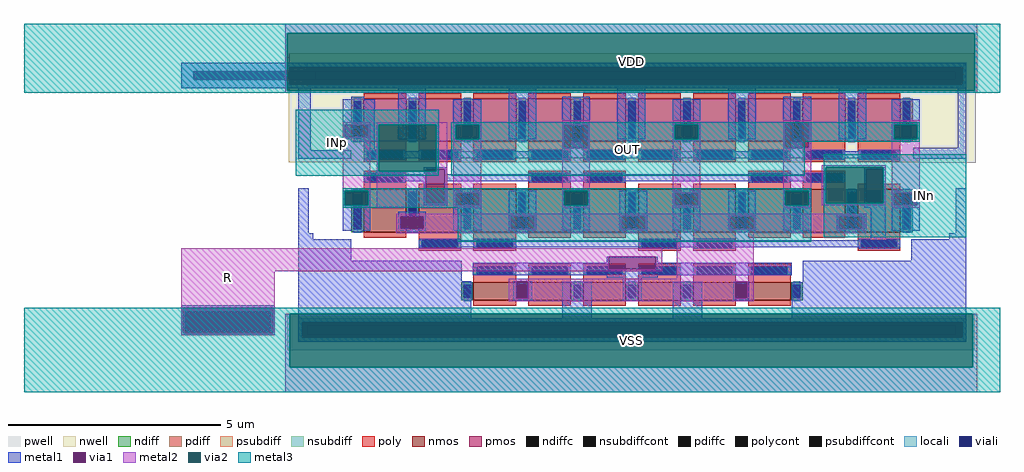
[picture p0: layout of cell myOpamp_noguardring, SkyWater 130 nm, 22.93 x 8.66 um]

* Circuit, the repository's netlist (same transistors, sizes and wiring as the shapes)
* NGSPICE file created from myOpamp_noguardring.ext - technology: sky130A

.subckt sky130_fd_pr__nfet_01v8_7W2YM9 a_n229_n99# a_n545_n73# a_487_n73# a_n29_n73#
+ a_n487_n99# a_n287_n73# a_545_n99# a_29_n99# a_n803_n73# a_287_n99# a_745_n73# a_229_n73#
+ a_n745_n99# VSUBS
X0 a_n545_n73# a_n745_n99# a_n803_n73# VSUBS sky130_fd_pr__nfet_01v8 ad=0.0609 pd=0.71 as=0.1218 ps=1.42 w=0.42 l=1
X1 a_n287_n73# a_n487_n99# a_n545_n73# VSUBS sky130_fd_pr__nfet_01v8 ad=0.0609 pd=0.71 as=0.0609 ps=0.71 w=0.42 l=1
X2 a_n29_n73# a_n229_n99# a_n287_n73# VSUBS sky130_fd_pr__nfet_01v8 ad=0.0609 pd=0.71 as=0.0609 ps=0.71 w=0.42 l=1
X3 a_745_n73# a_545_n99# a_487_n73# VSUBS sky130_fd_pr__nfet_01v8 ad=0.1218 pd=1.42 as=0.0609 ps=0.71 w=0.42 l=1
X4 a_229_n73# a_29_n99# a_n29_n73# VSUBS sky130_fd_pr__nfet_01v8 ad=0.0609 pd=0.71 as=0.0609 ps=0.71 w=0.42 l=1
X5 a_487_n73# a_287_n99# a_229_n73# VSUBS sky130_fd_pr__nfet_01v8 ad=0.0609 pd=0.71 as=0.0609 ps=0.71 w=0.42 l=1
.ends

.subckt sky130_fd_pr__pfet_01v8_PE7Z8M a_1003_n64# a_1061_n161# a_n803_n64# a_n1319_n64#
+ a_1261_n64# a_n487_n161# a_n1261_n161# a_545_n161# a_745_n64# a_229_n64# w_n1355_n164#
+ a_n1061_n64# a_n545_n64# a_29_n161# a_487_n64# a_n745_n161# a_n29_n64# a_803_n161#
+ a_n287_n64# a_n229_n161# a_287_n161# a_n1003_n161#
X0 a_n803_n64# a_n1003_n161# a_n1061_n64# w_n1355_n164# sky130_fd_pr__pfet_01v8 ad=0.145 pd=1.29 as=0.145 ps=1.29 w=1 l=1
X1 a_n29_n64# a_n229_n161# a_n287_n64# w_n1355_n164# sky130_fd_pr__pfet_01v8 ad=0.145 pd=1.29 as=0.145 ps=1.29 w=1 l=1
X2 a_745_n64# a_545_n161# a_487_n64# w_n1355_n164# sky130_fd_pr__pfet_01v8 ad=0.145 pd=1.29 as=0.145 ps=1.29 w=1 l=1
X3 a_229_n64# a_29_n161# a_n29_n64# w_n1355_n164# sky130_fd_pr__pfet_01v8 ad=0.145 pd=1.29 as=0.145 ps=1.29 w=1 l=1
X4 a_487_n64# a_287_n161# a_229_n64# w_n1355_n164# sky130_fd_pr__pfet_01v8 ad=0.145 pd=1.29 as=0.145 ps=1.29 w=1 l=1
X5 a_n545_n64# a_n745_n161# a_n803_n64# w_n1355_n164# sky130_fd_pr__pfet_01v8 ad=0.145 pd=1.29 as=0.145 ps=1.29 w=1 l=1
X6 a_1261_n64# a_1061_n161# a_1003_n64# w_n1355_n164# sky130_fd_pr__pfet_01v8 ad=0.29 pd=2.58 as=0.145 ps=1.29 w=1 l=1
X7 a_n1061_n64# a_n1261_n161# a_n1319_n64# w_n1355_n164# sky130_fd_pr__pfet_01v8 ad=0.145 pd=1.29 as=0.29 ps=2.58 w=1 l=1
X8 a_n287_n64# a_n487_n161# a_n545_n64# w_n1355_n164# sky130_fd_pr__pfet_01v8 ad=0.145 pd=1.29 as=0.145 ps=1.29 w=1 l=1
X9 a_1003_n64# a_803_n161# a_745_n64# w_n1355_n164# sky130_fd_pr__pfet_01v8 ad=0.145 pd=1.29 as=0.145 ps=1.29 w=1 l=1
.ends

.subckt sky130_fd_pr__nfet_01v8_7AMGGK a_n100_n157# a_n158_n69# a_100_n69# VSUBS
X0 a_100_n69# a_n100_n157# a_n158_n69# VSUBS sky130_fd_pr__nfet_01v8 ad=0.29 pd=2.58 as=0.29 ps=2.58 w=1 l=1
.ends

.subckt sky130_fd_pr__nfet_01v8_QFRGQ5 a_100_n131# a_n100_n157# a_n158_n131# VSUBS
X0 a_100_n131# a_n100_n157# a_n158_n131# VSUBS sky130_fd_pr__nfet_01v8 ad=0.29 pd=2.58 as=0.29 ps=2.58 w=1 l=1
.ends

.subckt opamp_nores OUT VSS VDD INp INn R
Xsky130_fd_pr__nfet_01v8_7W2YM9_0 R m1_540_190# m1_540_190# R R VSS R R VSS R VSS
+ VSS R VSS sky130_fd_pr__nfet_01v8_7W2YM9
Xsky130_fd_pr__pfet_01v8_PE7Z8M_0 VDD m1_280_190# OUT m1_280_190# OUT m1_280_190#
+ m1_280_190# m1_280_190# m1_280_190# OUT VDD VDD VDD m1_280_190# VDD m1_280_190#
+ VDD m1_280_190# m1_280_190# m1_280_190# m1_280_190# m1_280_190# sky130_fd_pr__pfet_01v8_PE7Z8M
Xsky130_fd_pr__nfet_01v8_7AMGGK_0 INn m1_540_190# OUT VSS sky130_fd_pr__nfet_01v8_7AMGGK
Xsky130_fd_pr__nfet_01v8_7AMGGK_1 INn OUT m1_540_190# VSS sky130_fd_pr__nfet_01v8_7AMGGK
Xsky130_fd_pr__nfet_01v8_7AMGGK_3 INn m1_540_190# OUT VSS sky130_fd_pr__nfet_01v8_7AMGGK
Xsky130_fd_pr__nfet_01v8_7AMGGK_4 INn m1_540_190# OUT VSS sky130_fd_pr__nfet_01v8_7AMGGK
Xsky130_fd_pr__nfet_01v8_7AMGGK_5 INn OUT m1_540_190# VSS sky130_fd_pr__nfet_01v8_7AMGGK
Xsky130_fd_pr__nfet_01v8_QFRGQ5_0 m1_540_190# INp m1_280_190# VSS sky130_fd_pr__nfet_01v8_QFRGQ5
Xsky130_fd_pr__nfet_01v8_QFRGQ5_1 m1_280_190# INp m1_540_190# VSS sky130_fd_pr__nfet_01v8_QFRGQ5
Xsky130_fd_pr__nfet_01v8_QFRGQ5_2 m1_540_190# INp m1_280_190# VSS sky130_fd_pr__nfet_01v8_QFRGQ5
Xsky130_fd_pr__nfet_01v8_QFRGQ5_3 m1_280_190# INp m1_540_190# VSS sky130_fd_pr__nfet_01v8_QFRGQ5
Xsky130_fd_pr__nfet_01v8_QFRGQ5_5 m1_540_190# INp m1_280_190# VSS sky130_fd_pr__nfet_01v8_QFRGQ5
.ends

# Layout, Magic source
magic
tech sky130A
magscale 1 2
<< nwell >>
rect 26 880 3252 1024
rect 26 849 3253 880
rect 25 835 3253 849
rect 25 512 312 835
rect 2985 511 3253 835
<< pwell >>
rect 20 -370 3250 -200
<< psubdiff >>
rect 70 -250 3200 -220
rect 70 -300 110 -250
rect 3160 -300 3200 -250
rect 70 -329 3200 -300
rect 70 -330 430 -329
rect 2840 -330 3200 -329
<< nsubdiff >>
rect 110 940 3200 980
rect 110 900 150 940
rect 3160 900 3200 940
rect 110 870 3200 900
<< psubdiffcont >>
rect 110 -300 3160 -250
<< nsubdiffcont >>
rect 150 900 3160 940
<< locali >>
rect -480 940 3210 980
rect -480 900 -420 940
rect 3160 900 3210 940
rect -480 860 3210 900
rect -480 -190 -40 -160
rect -480 -280 -460 -190
rect -60 -280 -40 -190
rect -480 -300 -40 -280
rect 70 -250 3210 -220
rect 70 -300 110 -250
rect 3160 -300 3210 -250
rect 70 -330 3210 -300
<< viali >>
rect -420 900 150 940
rect 150 900 3160 940
rect -460 -280 -60 -190
rect 110 -300 3160 -250
<< metal1 >>
rect -480 960 3210 980
rect -480 940 30 960
rect -480 900 -420 940
rect -480 880 30 900
rect 3190 880 3210 960
rect -480 860 3210 880
rect 70 570 130 860
rect 320 810 380 820
rect 280 690 430 810
rect 280 630 290 690
rect 400 630 430 690
rect 280 620 430 630
rect 540 620 670 860
rect 800 690 930 810
rect 800 630 810 690
rect 920 630 930 690
rect 800 620 930 630
rect 1060 620 1190 860
rect 1310 690 1440 820
rect 320 610 430 620
rect 70 530 320 570
rect 380 565 430 610
rect 1310 580 1320 690
rect 1430 580 1440 690
rect 1570 620 1700 860
rect 1830 700 1960 810
rect 1830 630 1840 700
rect 1950 630 1960 700
rect 1830 620 1960 630
rect 2090 620 2220 860
rect 2350 700 2480 820
rect 1310 565 1440 580
rect 2350 580 2360 700
rect 2470 580 2480 700
rect 2610 620 2740 860
rect 2860 700 2990 810
rect 2860 630 2870 700
rect 2980 630 2990 700
rect 2860 620 2990 630
rect 3170 580 3210 860
rect 2350 570 2480 580
rect 2360 565 2470 570
rect 378 531 2900 565
rect 380 530 430 531
rect 2960 530 3210 580
rect 660 480 770 490
rect 660 457 670 480
rect 378 423 670 457
rect 70 180 120 390
rect 280 370 410 380
rect 280 310 290 370
rect 400 310 410 370
rect 660 320 670 423
rect 760 457 770 480
rect 2730 480 2830 490
rect 760 423 2642 457
rect 760 320 770 423
rect 660 310 770 320
rect 800 370 930 380
rect 800 310 810 370
rect 920 310 930 370
rect 280 190 410 310
rect 540 260 670 280
rect 540 200 550 260
rect 660 200 670 260
rect 540 190 670 200
rect 800 190 930 310
rect 1060 260 1190 380
rect 1060 200 1070 260
rect 1180 200 1190 260
rect 1060 190 1190 200
rect 1310 370 1440 380
rect 1310 310 1320 370
rect 1430 310 1440 370
rect 1310 190 1440 310
rect 1580 260 1710 380
rect 1580 200 1590 260
rect 1700 200 1710 260
rect 1580 190 1710 200
rect 1830 370 1960 380
rect 1830 310 1840 370
rect 1950 310 1960 370
rect 1830 190 1960 310
rect 2090 260 2220 380
rect 2090 200 2100 260
rect 2210 200 2220 260
rect 2090 190 2220 200
rect 2350 370 2480 380
rect 2350 310 2360 370
rect 2470 310 2480 370
rect 2350 190 2480 310
rect 2730 330 2740 480
rect 2820 330 2830 480
rect 2730 300 2830 330
rect 2600 260 2730 270
rect 2600 200 2610 260
rect 2720 200 2730 260
rect 2600 190 2730 200
rect 70 150 140 180
rect 70 50 320 150
rect 2760 147 2830 300
rect 2860 370 2990 380
rect 2860 310 2870 370
rect 2980 310 2990 370
rect 2860 190 2990 310
rect 3160 180 3210 390
rect 3130 150 3210 180
rect 636 113 2900 147
rect 70 -47 840 50
rect 1520 40 1530 70
rect 890 10 1530 40
rect 1750 40 1760 70
rect 2950 50 3210 150
rect 1750 10 2390 40
rect 890 -19 2390 10
rect 1520 -30 1760 -19
rect -480 -170 -40 -160
rect -480 -290 -470 -170
rect -50 -290 -40 -170
rect -480 -300 -40 -290
rect 70 -220 884 -47
rect 1080 -125 1095 -47
rect 1150 -125 1170 -47
rect 1080 -135 1170 -125
rect 1310 -220 1450 -48
rect 1595 -140 1685 -30
rect 1830 -220 1970 -48
rect 2115 -125 2125 -48
rect 2180 -125 2190 -48
rect 2440 -50 3210 50
rect 2115 -135 2190 -125
rect 2390 -220 3210 -50
rect 70 -240 3210 -220
rect 70 -310 90 -240
rect 3190 -310 3210 -240
rect 70 -330 3210 -310
<< via1 >>
rect 30 940 3190 960
rect 30 900 3160 940
rect 3160 900 3190 940
rect 30 880 3190 900
rect 290 630 400 690
rect 810 630 920 690
rect 1320 580 1430 690
rect 1840 630 1950 700
rect 2360 580 2470 700
rect 2870 630 2980 700
rect 290 310 400 370
rect 670 320 760 480
rect 810 310 920 370
rect 550 200 660 260
rect 1070 200 1180 260
rect 1320 310 1430 370
rect 1590 200 1700 260
rect 1840 310 1950 370
rect 2100 200 2210 260
rect 2360 310 2470 370
rect 2740 330 2820 480
rect 2610 200 2720 260
rect 2870 310 2980 370
rect 1530 10 1750 70
rect -470 -190 -50 -170
rect -470 -280 -460 -190
rect -460 -280 -60 -190
rect -60 -280 -50 -190
rect -470 -290 -50 -280
rect 1095 -125 1150 -47
rect 2125 -125 2180 -48
rect 90 -250 3190 -240
rect 90 -300 110 -250
rect 110 -300 3160 -250
rect 3160 -300 3190 -250
rect 90 -310 3190 -300
<< metal2 >>
rect 10 1120 3260 1164
rect 10 850 20 1120
rect 3250 850 3260 1120
rect 10 840 3260 850
rect 280 690 410 700
rect 280 630 290 690
rect 400 630 410 690
rect 280 380 410 630
rect 280 310 290 380
rect 400 310 410 380
rect 280 300 410 310
rect 440 690 770 700
rect 440 470 450 690
rect 720 480 770 690
rect 440 320 670 470
rect 760 320 770 480
rect 440 300 770 320
rect 800 690 930 700
rect 800 620 810 690
rect 920 620 930 690
rect 800 370 930 620
rect 800 310 810 370
rect 920 310 930 370
rect 800 300 930 310
rect 1310 690 1440 710
rect 1310 580 1320 690
rect 1430 580 1440 690
rect 1310 380 1440 580
rect 1310 310 1320 380
rect 1430 310 1440 380
rect 1310 300 1440 310
rect 1830 700 1960 710
rect 1830 620 1840 700
rect 1950 620 1960 700
rect 1830 370 1960 620
rect 1830 310 1840 370
rect 1950 310 1960 370
rect 1830 300 1960 310
rect 2350 700 2480 710
rect 2350 580 2360 700
rect 2470 580 2480 700
rect 2350 380 2480 580
rect 2860 700 2990 710
rect 2860 620 2870 700
rect 2980 620 2990 700
rect 2350 310 2360 380
rect 2470 310 2480 380
rect 2530 490 2830 500
rect 2530 320 2550 490
rect 2820 320 2830 490
rect 2530 310 2830 320
rect 2860 370 2990 620
rect 2860 310 2870 370
rect 2980 310 2990 370
rect 2350 300 2480 310
rect 2860 300 2990 310
rect 530 260 2740 270
rect 530 200 550 260
rect 660 200 1070 260
rect 1180 200 1590 260
rect 1700 200 2100 260
rect 2210 200 2610 260
rect 2720 200 2740 260
rect 530 180 2740 200
rect -480 70 1780 110
rect -480 10 1530 70
rect 1750 10 1780 70
rect -480 0 1780 10
rect -480 -170 -40 0
rect 1850 -35 2210 180
rect 1060 -47 2210 -35
rect 1060 -125 1095 -47
rect 1150 -48 2210 -47
rect 1150 -125 2125 -48
rect 2180 -125 2210 -48
rect 1060 -140 2210 -125
rect -480 -290 -470 -170
rect -50 -290 -40 -170
rect -480 -300 -40 -290
rect 10 -450 30 -200
rect 3240 -450 3260 -200
rect 10 -568 3260 -450
<< via2 >>
rect 20 960 3250 1120
rect 20 880 30 960
rect 30 880 3190 960
rect 3190 880 3250 960
rect 20 850 3250 880
rect 290 370 400 380
rect 290 310 400 370
rect 450 480 720 690
rect 450 470 670 480
rect 670 470 720 480
rect 810 630 920 690
rect 810 620 920 630
rect 1320 370 1430 380
rect 1320 310 1430 370
rect 1840 630 1950 690
rect 1840 620 1950 630
rect 2870 630 2980 690
rect 2870 620 2980 630
rect 2360 370 2470 380
rect 2360 310 2470 370
rect 2550 480 2820 490
rect 2550 330 2740 480
rect 2740 330 2820 480
rect 2550 320 2820 330
rect 30 -240 3240 -200
rect 30 -310 90 -240
rect 90 -310 3190 -240
rect 3190 -310 3240 -240
rect 30 -450 3240 -310
<< metal3 >>
rect -1218 1120 3368 1164
rect -1218 850 20 1120
rect 3250 850 3368 1120
rect -1218 840 3368 850
rect 60 690 730 760
rect 60 470 450 690
rect 720 470 730 690
rect 60 450 730 470
rect 790 690 2990 700
rect 790 620 810 690
rect 920 620 1840 690
rect 1950 620 2870 690
rect 2980 620 2990 690
rect 790 610 2990 620
rect 790 450 2450 610
rect 2540 490 3210 550
rect 280 380 2480 390
rect 280 310 290 380
rect 400 310 1320 380
rect 1430 310 2360 380
rect 2470 310 2480 380
rect 280 300 2480 310
rect 820 140 2480 300
rect 2540 320 2550 490
rect 2820 320 3210 490
rect 2540 160 3210 320
rect -1218 -200 3368 -170
rect -1218 -450 30 -200
rect 3240 -450 3368 -200
rect -1218 -568 3368 -450
use sky130_fd_pr__nfet_01v8_7AMGGK  sky130_fd_pr__nfet_01v8_7AMGGK_0
transform 1 0 736 0 1 254
box -158 -157 158 157
use sky130_fd_pr__nfet_01v8_7AMGGK  sky130_fd_pr__nfet_01v8_7AMGGK_1
transform 1 0 2026 0 1 254
box -158 -157 158 157
use sky130_fd_pr__nfet_01v8_7AMGGK  sky130_fd_pr__nfet_01v8_7AMGGK_3
transform 1 0 2800 0 1 254
box -158 -157 158 157
use sky130_fd_pr__nfet_01v8_7AMGGK  sky130_fd_pr__nfet_01v8_7AMGGK_4
transform 1 0 1768 0 1 254
box -158 -157 158 157
use sky130_fd_pr__nfet_01v8_7AMGGK  sky130_fd_pr__nfet_01v8_7AMGGK_5
transform 1 0 994 0 1 254
box -158 -157 158 157
use sky130_fd_pr__nfet_01v8_7W2YM9  sky130_fd_pr__nfet_01v8_7W2YM9_0
transform 1 0 1639 0 1 -62
box -803 -99 803 99
use sky130_fd_pr__nfet_01v8_QFRGQ5  sky130_fd_pr__nfet_01v8_QFRGQ5_0
transform 1 0 478 0 1 316
box -158 -157 158 157
use sky130_fd_pr__nfet_01v8_QFRGQ5  sky130_fd_pr__nfet_01v8_QFRGQ5_1
transform 1 0 2284 0 1 316
box -158 -157 158 157
use sky130_fd_pr__nfet_01v8_QFRGQ5  sky130_fd_pr__nfet_01v8_QFRGQ5_2
transform 1 0 2542 0 1 316
box -158 -157 158 157
use sky130_fd_pr__nfet_01v8_QFRGQ5  sky130_fd_pr__nfet_01v8_QFRGQ5_3
transform 1 0 1252 0 1 316
box -158 -157 158 157
use sky130_fd_pr__nfet_01v8_QFRGQ5  sky130_fd_pr__nfet_01v8_QFRGQ5_5
transform 1 0 1510 0 1 316
box -158 -157 158 157
use sky130_fd_pr__pfet_01v8_PE7Z8M  sky130_fd_pr__pfet_01v8_PE7Z8M_0
transform 1 0 1639 0 1 676
box -1355 -164 1355 198
<< labels >>
flabel metal3 2820 160 3210 550 0 FreeSans 800 0 0 0 INn
port 5 nsew
flabel metal3 790 450 2450 700 0 FreeSans 800 0 0 0 OUT
port 1 nsew
flabel metal3 30 -450 3240 -200 0 FreeSans 800 0 0 0 VSS
port 2 nsew
flabel metal3 20 850 3250 1120 0 FreeSans 800 0 0 0 VDD
port 3 nsew
flabel metal3 60 450 450 760 0 FreeSans 800 0 0 0 INp
port 4 nsew
flabel metal2 -480 -170 -40 110 0 FreeSans 1600 0 0 0 R
port 6 nsew
<< end >>

# cell sky130_fd_pr__nfet_01v8_7AMGGK: kit device sky130_fd_pr__nfet_01v8, w 1 l 1 m 1 nf 1 diffcov 100 polycov 100 guard 0 glc 0 grc 0 gtc 0 gbc 0 tbcov 100 rlcov 100 topc 0 botc 1 poverlap 0 doverlap 0 lmin 0.15 wmin 0.42 compatible {sky130_fd_pr__nfet_01v8 sky130_fd_pr__nfet_01v8_lvt sky130_fd_bs_flash__special_sonosfet_star sky130_fd_pr__nfet_g5v0d10v5 sky130_fd_pr__nfet_05v0_nvt sky130_fd_pr__nfet_03v3_nvt} full_metal 0 viasrc 100 viadrn 100 viagate 100 viagb 0 viagr 0 viagl 0 viagt 0

# cell sky130_fd_pr__nfet_01v8_7W2YM9: kit device sky130_fd_pr__nfet_01v8, w 0.420 l 1 m 1 nf 6 diffcov 100 polycov 100 guard 0 glc 0 grc 0 gtc 0 gbc 0 tbcov 100 rlcov 100 topc 1 botc 0 poverlap 0 doverlap 1 lmin 0.15 wmin 0.42 compatible {sky130_fd_pr__nfet_01v8 sky130_fd_pr__nfet_01v8_lvt sky130_fd_bs_flash__special_sonosfet_star sky130_fd_pr__nfet_g5v0d10v5 sky130_fd_pr__nfet_05v0_nvt sky130_fd_pr__nfet_03v3_nvt} full_metal 0 viasrc 100 viadrn 100 viagate 100 viagb 0 viagr 0 viagl 0 viagt 0

# cell sky130_fd_pr__nfet_01v8_QFRGQ5: kit device sky130_fd_pr__nfet_01v8, w 1 l 1 m 1 nf 1 diffcov 100 polycov 100 guard 0 glc 0 grc 0 gtc 0 gbc 0 tbcov 100 rlcov 100 topc 1 botc 0 poverlap 0 doverlap 0 lmin 0.15 wmin 0.42 compatible {sky130_fd_pr__nfet_01v8 sky130_fd_pr__nfet_01v8_lvt sky130_fd_bs_flash__special_sonosfet_star sky130_fd_pr__nfet_g5v0d10v5 sky130_fd_pr__nfet_05v0_nvt sky130_fd_pr__nfet_03v3_nvt} full_metal 0 viasrc 100 viadrn 100 viagate 100 viagb 0 viagr 0 viagl 0 viagt 0

# cell sky130_fd_pr__pfet_01v8_PE7Z8M: kit device sky130_fd_pr__pfet_01v8, w 1 l 1 m 1 nf 10 diffcov 100 polycov 100 guard 0 glc 0 grc 0 gtc 0 gbc 0 tbcov 100 rlcov 100 topc 0 botc 1 poverlap 0 doverlap 1 lmin 0.15 wmin 0.42 compatible {sky130_fd_pr__pfet_01v8 sky130_fd_pr__pfet_01v8_lvt sky130_fd_pr__pfet_01v8_hvt sky130_fd_pr__pfet_g5v0d10v5} full_metal 0 viasrc 100 viadrn 100 viagate 100 viagb 0 viagr 0 viagl 0 viagt 0
